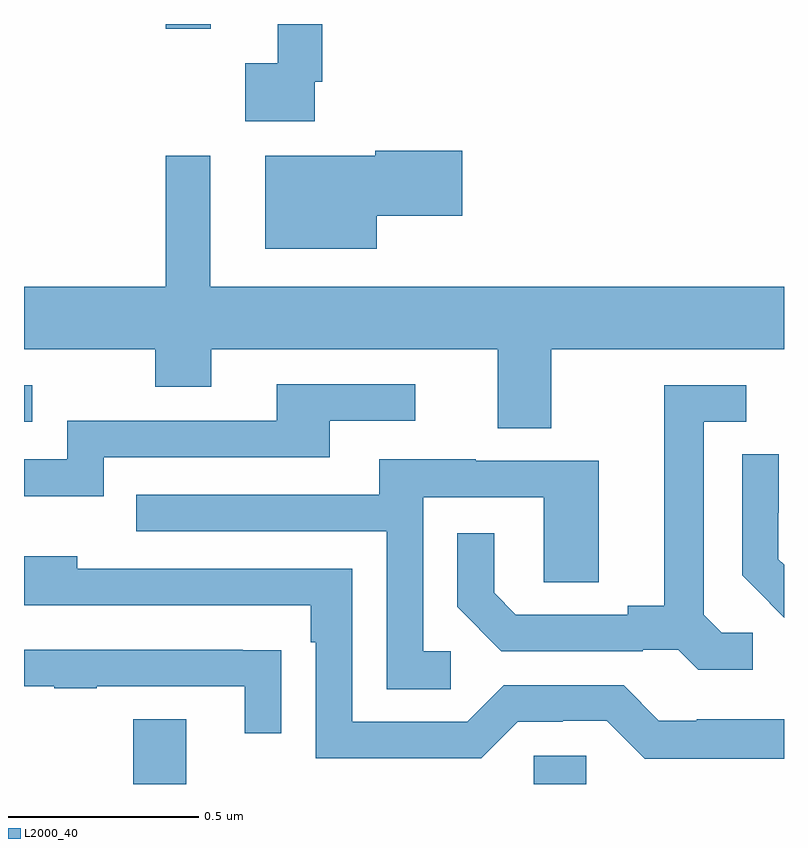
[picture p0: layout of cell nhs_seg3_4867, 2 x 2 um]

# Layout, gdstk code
import gdstk
lib = gdstk.Library(unit=1e-6, precision=1e-09)
def R(c, l, rs):  # rectangles x0, y0, x1, y1
    for r in rs: c.add(gdstk.rectangle(r[:2], r[2:], *l))
def P(c, l, *ps):  # polygons
    for p in ps: c.add(gdstk.Polygon(p, *l))
L2000_40 = (2000, 40)

nhs_seg3_4867 = lib.new_cell('nhs_seg3_4867')
R(nhs_seg3_4867, L2000_40, [(171.287,738.4,171.427,738.571), (172.341,738.4,172.479,738.474), (171,739.353,171.022,739.449), (171.373,740.388,171.491,740.4)])
P(nhs_seg3_4867, L2000_40, [(171.765,740.248),(171.785,740.248),(171.785,740.4),(171.668,740.4),(171.668,740.297),(171.582,740.297),(171.582,740.144),(171.765,740.144)],
  [(171.928,739.895),(172.153,739.895),(172.153,740.066),(171.924,740.066),(171.924,740.053),(171.635,740.053),(171.635,739.808),(171.928,739.808)],
  [(172.387,739.544),(173,739.544),(173,739.708),(171.49,739.708),(171.49,740.053),(171.373,740.053),(171.373,739.708),(171,739.708),(171,739.544),(171.346,739.544),(171.346,739.445),(171.493,739.445),(171.493,739.544),(172.247,739.544),(172.247,739.336),(172.387,739.336)],
  [(171.21,739.26),(171.805,739.26),(171.805,739.356),(172.03,739.356),(172.03,739.452),(171.665,739.452),(171.665,739.356),(171.114,739.356),(171.114,739.254),(171,739.254),(171,739.157),(171.21,739.157)],
  [(172.918,738.798),(172.836,738.798),(172.789,738.845),(172.789,739.353),(172.9,739.353),(172.9,739.449),(172.685,739.449),(172.685,738.869),(172.589,738.869),(172.589,738.846),(172.294,738.846),(172.237,738.903),(172.237,739.06),(172.14,739.06),(172.14,738.866),(172.256,738.75),(172.628,738.75),(172.628,738.753),(172.722,738.753),(172.774,738.701),(172.918,738.701)],
  [(173,738.977),(172.985,738.992),(172.985,739.114),(172.986,739.114),(172.986,739.268),(172.89,739.268),(172.89,738.95),(172.963,738.877),(172.962,738.876),(173,738.838)],
  [(172.123,738.75),(172.05,738.75),(172.05,739.155),(172.368,739.155),(172.368,738.931),(172.513,738.931),(172.513,739.251),(172.189,739.251),(172.189,739.255),(171.935,739.255),(171.935,739.161),(171.295,739.161),(171.295,739.065),(171.954,739.065),(171.954,738.649),(172.123,738.649)],
  [(173,738.571),(172.771,738.571),(172.771,738.567),(172.671,738.567),(172.578,738.66),(172.263,738.66),(172.167,738.564),(171.864,738.564),(171.864,738.966),(171.14,738.966),(171.14,739),(171,739),(171,738.87),(171.755,738.87),(171.755,738.773),(171.768,738.773),(171.768,738.468),(172.203,738.468),(172.299,738.564),(172.418,738.564),(172.418,738.567),(172.533,738.567),(172.633,738.467),(173,738.467)],
  [(171.677,738.752),(171.575,738.752),(171.575,738.753),(171,738.753),(171,738.657),(171.079,738.657),(171.079,738.652),(171.191,738.652),(171.191,738.657),(171.581,738.657),(171.581,738.534),(171.677,738.534)])

lib.write_gds('nhs_seg3_4867.gds')
